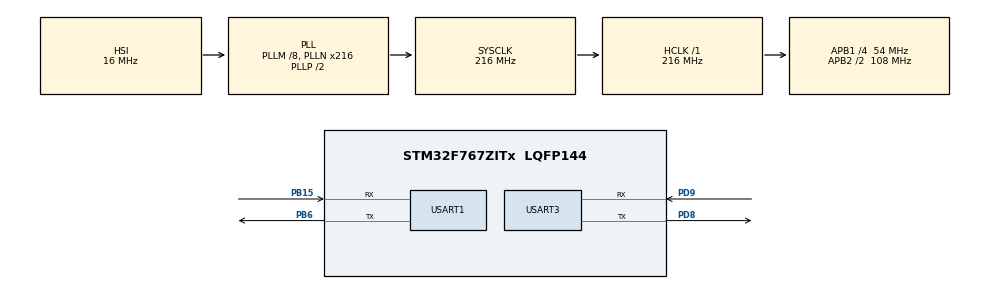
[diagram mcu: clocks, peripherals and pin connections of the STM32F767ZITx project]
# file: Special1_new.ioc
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CORTEX_M7.default_mode_Activation=1
Mcu.Family=STM32F7
Mcu.Name=STM32F767ZITx
Mcu.Package=LQFP144
NVIC.PriorityGroup=NVIC_PRIORITYGROUP_4
NVIC.USART1_IRQn=true\:0\:0\:false\:false\:true\:true\:true\:true
NVIC.USART3_IRQn=true\:0\:0\:false\:false\:true\:true\:true\:true
PB15.Mode=Asynchronous
PB15.Signal=USART1_RX
PB6.Mode=Asynchronous
PB6.Signal=USART1_TX
PD8.Mode=Asynchronous
PD8.Signal=USART3_TX
PD9.Mode=Asynchronous
PD9.Signal=USART3_RX
ProjectManager.HeapSize=0x200
ProjectManager.StackSize=0x400
ProjectManager.TargetToolchain=STM32CubeIDE
RCC.AHBFreq_Value=216000000
RCC.APB1CLKDivider=RCC_HCLK_DIV4
RCC.APB1Freq_Value=54000000
RCC.APB1TimFreq_Value=108000000
RCC.APB2CLKDivider=RCC_HCLK_DIV2
RCC.APB2Freq_Value=108000000
RCC.APB2TimFreq_Value=216000000
RCC.CortexFreq_Value=216000000
RCC.HCLKFreq_Value=216000000
RCC.HSE_VALUE=25000000
RCC.HSI_VALUE=16000000
RCC.LSE_VALUE=32768
RCC.PLLM=8
RCC.PLLN=216
RCC.SYSCLKFreq_VALUE=216000000
RCC.SYSCLKSource=RCC_SYSCLKSOURCE_PLLCLK
RCC.USBFreq_Value=216000000
RCC.VCOOutputFreq_Value=432000000
USART1.VirtualMode-Asynchronous=VM_ASYNC
USART3.VirtualMode-Asynchronous=VM_ASYNC
board=custom

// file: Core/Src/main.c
/* USER CODE BEGIN Header */
/**
  ******************************************************************************
  * @file           : main.c
  * @brief          : Main program body
  ******************************************************************************
  * @attention
  *
  * Copyright (c) 2026 STMicroelectronics.
  * All rights reserved.
  *
  * This software is licensed under terms that can be found in the LICENSE file
  * in the root directory of this software component.
  * If no LICENSE file comes with this software, it is provided AS-IS.
  *
  ******************************************************************************
  */
/* USER CODE END Header */
#include "main.h"

/* USER CODE BEGIN Includes */
#include "string.h"
/* USER CODE END Includes */

UART_HandleTypeDef huart1;
UART_HandleTypeDef huart3;

/* USER CODE BEGIN PV *//* USER CODE BEGIN PV */
// --- แยกตัวแปรรับค่า ---
uint8_t rx1; // ของ UART1
uint8_t rx3; // ของ UART3 (เดิมคือ rx)

// --- แยก Buffer ---
char rx_buffer1[50]; // Buffer เก็บข้อมูลจาก UART1 (เพื่อนส่งมา)
char rx_buffer3[50]; // Buffer เก็บข้อมูลจาก UART3 (เราพิมพ์เอง)

// --- แยก Index ---
volatile uint8_t rx_index1 = 0;
volatile uint8_t rx_index3 = 0;

// --- Flags ---
volatile uint8_t input_complete = 0;   // ธงของ UART3 (เราพิมพ์เสร็จ)
volatile uint8_t receive_complete = 0; // ธงของ UART1 (เพื่อนส่งเสร็จ)

// ตัวแปรเก็บชื่อ
char my_name[50];  // ชื่อเรา
char user_name[50]; // ชื่อเพื่อน

// ข้อความต่างๆ (เหมือนเดิม)
char start_msg[]   = "Man from U.A.R.T.1!\r\n";
char quit_msg[]    = "Quit PRESS q\r\n";
char blank[]       = "        ";
char name_msg[]    = "Name: ";
char prompt[] = " => ";

typedef enum {
	Wait_Name,
	Wait_Ready, // สถานะรอเพื่อนส่งชื่อมา
	Wait_Msg,
	Ready,
} SystemState;

SystemState currentState = Wait_Name;
/* USER CODE END PV */

/* USER CODE END PV */

void SystemClock_Config(void);
static void MPU_Config(void);
static void MX_GPIO_Init(void);
static void MX_USART1_UART_Init(void);
static void MX_USART3_UART_Init(void);

int main(void)
{

  /* MPU Configuration--------------------------------------------------------*/
  MPU_Config();

  /* MCU Configuration--------------------------------------------------------*/

  /* Reset of all peripherals, Initializes the Flash interface and the Systick. */
  HAL_Init();

  /* Configure the system clock */
  SystemClock_Config();

  /* Initialize all configured peripherals */
  MX_GPIO_Init();
  MX_USART1_UART_Init();
  MX_USART3_UART_Init();
  /* USER CODE BEGIN 2 */
  /* USER CODE BEGIN 2 */
  HAL_UART_Receive_IT(&huart1, &rx1, 1);
  HAL_UART_Receive_IT(&huart3, &rx3, 1);

  HAL_UART_Transmit(&huart3, (uint8_t*)start_msg, strlen(start_msg), HAL_MAX_DELAY);
  HAL_UART_Transmit(&huart3, (uint8_t*)quit_msg, strlen(quit_msg), HAL_MAX_DELAY);
  HAL_UART_Transmit(&huart3, (uint8_t*)blank, strlen(blank), HAL_MAX_DELAY);
  HAL_UART_Transmit(&huart3, (uint8_t*)name_msg, strlen(name_msg), HAL_MAX_DELAY);
  /* USER CODE END 2 */

  /* Infinite loop */
  while (1)
  {

    /* USER CODE BEGIN 3 */
	  switch(currentState)
	  {

	  	  case Wait_Name:
	  		if (input_complete == 1)
	  		            {
	  		                strcpy(my_name, rx_buffer3);
	  		                HAL_UART_Transmit(&huart1, (uint8_t*)my_name, strlen(my_name), 100);
							HAL_UART_Transmit(&huart1, (uint8_t*)"\n", 1, 100);
	  		             	memset(rx_buffer3, 0, sizeof(rx_buffer3));
							rx_index3 = 0;
	  		                input_complete = 0;
	  		                currentState = Wait_Ready;
	  		            }
	  		break;

	  	  case Wait_Ready:
	  		if (receive_complete == 1)
	  					{
	  						strcpy(user_name, rx_buffer1); // ก๊อปจาก buffer1 (เพื่อน)

	  						// โชว์ว่าเพื่อนชื่ออะไร
	  						HAL_UART_Transmit(&huart3, (uint8_t*)blank, strlen(blank), HAL_MAX_DELAY);
	  						HAL_UART_Transmit(&huart3, (uint8_t*)user_name, strlen(user_name), 100);
	  						HAL_UART_Transmit(&huart3, (uint8_t*)" is ready!\r\n", 12 , 100);

	  						// เคลียร์ค่า
	  						memset(rx_buffer1, 0, sizeof(rx_buffer1));
	  						rx_index1 = 0;
	  						receive_complete = 0;
	  						HAL_UART_Transmit(&huart3, (uint8_t*)blank, strlen(blank), HAL_MAX_DELAY);
	  						HAL_UART_Transmit(&huart3, (uint8_t*)my_name, strlen(my_name), 100);
	  						HAL_UART_Transmit(&huart3, (uint8_t*)prompt, strlen(prompt), 100);
	  						// ไปต่อที่โหมด Chat หรือจบ
	  						currentState = Wait_Msg;
	  					}
	  		  break;

	  	  case Wait_Msg:

	  		  if(input_complete == 1)
	  		  {
				HAL_UART_Transmit(&huart1, (uint8_t*)rx_buffer3, strlen(rx_buffer3), 100);
				HAL_UART_Transmit(&huart1, (uint8_t*)"\n", 1, 100);
				memset(rx_buffer3, 0, sizeof(rx_buffer3));
				rx_index3 = 0;
				input_complete = 0;
				currentState = Ready;
	  		  }
	  		 break;

	  	  case Ready:
	  		if (receive_complete){
				  HAL_UART_Transmit(&huart3, (uint8_t*)blank, strlen(blank), HAL_MAX_DELAY);
				  HAL_UART_Transmit(&huart3, (uint8_t*)user_name, strlen(user_name), 100);
				  HAL_UART_Transmit(&huart3, (uint8_t*)" : ", strlen(" : "), 100);
				  HAL_UART_Transmit(&huart3, (uint8_t*)rx_buffer1, strlen(rx_buffer1), HAL_MAX_DELAY);
				  HAL_UART_Transmit(&huart3, (uint8_t*)"\r\n", 2, 10);
				  memset(rx_buffer1, 0, sizeof(rx_buffer1));
				  rx_index1 = 0;
				  receive_complete = 0;
				  HAL_UART_Transmit(&huart3, (uint8_t*)blank, strlen(blank), HAL_MAX_DELAY);
				  HAL_UART_Transmit(&huart3, (uint8_t*)my_name, strlen(my_name), 100);
				  HAL_UART_Transmit(&huart3, (uint8_t*)prompt, strlen(prompt), 100);
				  currentState = Wait_Msg;
			  }
	  		 break;

	  }
//	  HAL_UART_Receive(&huart1, &rx, 1, HAL_MAX_DELAY);
//
//	  HAL_UART_Transmit(&huart1, &rx, 1, HAL_MAX_DELAY);
//	  HAL_UART_Transmit(&huart1, (uint8_t*)newline, strlen(newline), HAL_MAX_DELAY);
  }
  /* USER CODE END 3 */
}

void SystemClock_Config(void)
{
  RCC_OscInitTypeDef RCC_OscInitStruct = {0};
  RCC_ClkInitTypeDef RCC_ClkInitStruct = {0};

  /** Configure the main internal regulator output voltage
  */
  __HAL_RCC_PWR_CLK_ENABLE();
  __HAL_PWR_VOLTAGESCALING_CONFIG(PWR_REGULATOR_VOLTAGE_SCALE1);

  /** Initializes the RCC Oscillators according to the specified parameters
  * in the RCC_OscInitTypeDef structure.
  */
  RCC_OscInitStruct.OscillatorType = RCC_OSCILLATORTYPE_HSI;
  RCC_OscInitStruct.HSIState = RCC_HSI_ON;
  RCC_OscInitStruct.HSICalibrationValue = RCC_HSICALIBRATION_DEFAULT;
  RCC_OscInitStruct.PLL.PLLState = RCC_PLL_ON;
  RCC_OscInitStruct.PLL.PLLSource = RCC_PLLSOURCE_HSI;
  RCC_OscInitStruct.PLL.PLLM = 8;
  RCC_OscInitStruct.PLL.PLLN = 216;
  RCC_OscInitStruct.PLL.PLLP = RCC_PLLP_DIV2;
  RCC_OscInitStruct.PLL.PLLQ = 2;
  RCC_OscInitStruct.PLL.PLLR = 2;
  if (HAL_RCC_OscConfig(&RCC_OscInitStruct) != HAL_OK)
  {
    Error_Handler();
  }

  /** Activate the Over-Drive mode
  */
  if (HAL_PWREx_EnableOverDrive() != HAL_OK)
  {
    Error_Handler();
  }

  /** Initializes the CPU, AHB and APB buses clocks
  */
  RCC_ClkInitStruct.ClockType = RCC_CLOCKTYPE_HCLK|RCC_CLOCKTYPE_SYSCLK
                              |RCC_CLOCKTYPE_PCLK1|RCC_CLOCKTYPE_PCLK2;
  RCC_ClkInitStruct.SYSCLKSource = RCC_SYSCLKSOURCE_PLLCLK;
  RCC_ClkInitStruct.AHBCLKDivider = RCC_SYSCLK_DIV1;
  RCC_ClkInitStruct.APB1CLKDivider = RCC_HCLK_DIV4;
  RCC_ClkInitStruct.APB2CLKDivider = RCC_HCLK_DIV2;

  if (HAL_RCC_ClockConfig(&RCC_ClkInitStruct, FLASH_LATENCY_7) != HAL_OK)
  {
    Error_Handler();
  }
}

static void MX_USART1_UART_Init(void)
{

  huart1.Instance = USART1;
  huart1.Init.BaudRate = 115200;
  huart1.Init.WordLength = UART_WORDLENGTH_8B;
  huart1.Init.StopBits = UART_STOPBITS_1;
  huart1.Init.Parity = UART_PARITY_NONE;
  huart1.Init.Mode = UART_MODE_TX_RX;
  huart1.Init.HwFlowCtl = UART_HWCONTROL_NONE;
  huart1.Init.OverSampling = UART_OVERSAMPLING_16;
  huart1.Init.OneBitSampling = UART_ONE_BIT_SAMPLE_DISABLE;
  huart1.AdvancedInit.AdvFeatureInit = UART_ADVFEATURE_NO_INIT;
  if (HAL_UART_Init(&huart1) != HAL_OK)
  {
    Error_Handler();
  }

}

static void MX_USART3_UART_Init(void)
{

  huart3.Instance = USART3;
  huart3.Init.BaudRate = 115200;
  huart3.Init.WordLength = UART_WORDLENGTH_8B;
  huart3.Init.StopBits = UART_STOPBITS_1;
  huart3.Init.Parity = UART_PARITY_NONE;
  huart3.Init.Mode = UART_MODE_TX_RX;
  huart3.Init.HwFlowCtl = UART_HWCONTROL_NONE;
  huart3.Init.OverSampling = UART_OVERSAMPLING_16;
  huart3.Init.OneBitSampling = UART_ONE_BIT_SAMPLE_DISABLE;
  huart3.AdvancedInit.AdvFeatureInit = UART_ADVFEATURE_NO_INIT;
  if (HAL_UART_Init(&huart3) != HAL_OK)
  {
    Error_Handler();
  }

}

static void MX_GPIO_Init(void)
{

  /* GPIO Ports Clock Enable */
  __HAL_RCC_GPIOB_CLK_ENABLE();
  __HAL_RCC_GPIOD_CLK_ENABLE();

}

/* USER CODE BEGIN 4 */
/* USER CODE BEGIN 4 */
void HAL_UART_RxCpltCallback(UART_HandleTypeDef *huart)
{
	// --- ส่วนของ UART3 (รับจากคีย์บอร์ดเรา) ---
	if (huart->Instance == USART3)
	{
		if (rx3 == 'q' && rx_index3 == 0 )
		{
			HAL_UART_Transmit(&huart3, (uint8_t*)"\r\nQuit Program.\r\n", 15, 100);
			HAL_UART_Transmit(&huart1, (uint8_t*)"~", 1, 100);
			__disable_irq(); // ปิด Interrupt ทั้งหมดเพื่อความปลอดภัย
			while(1)
			{

			}
		}
		// จบเมื่อเจอ Enter (\r หรือ \n)
		if (rx3 == '\r' || rx3 == '\n')
		{
			if (rx_index3 > 0)
			{
				rx_buffer3[rx_index3] = '\0'; // ปิดท้าย String
				input_complete = 1;           // ยกธง
				rx_index3 = 0;                // รีเซ็ต index
				HAL_UART_Transmit(&huart3, (uint8_t*)"\r\n", 2, 10);
			}
		}
		else
		{
			if (rx_index3 < 49) rx_buffer3[rx_index3++] = rx3;

		}
		HAL_UART_Receive_IT(&huart3, &rx3, 1); // รอรับตัวต่อไป
	}

	// --- ส่วนของ UART1 (รับจากอีกบอร์ด) ---
	if (huart->Instance == USART1)
	{

		if (rx1 == '~')
		{
			 HAL_UART_Transmit(&huart3, (uint8_t*)"\r\n[System] Partner disconnected.\r\n", 34, 100);
			 __disable_irq();
			 while(1);
		}
		// สมมติว่าตกลงกันว่า "ส่งจบจะตามด้วย \n เสมอ"
		if (rx1 == '\n')
		{
			if (rx_index1 > 0)
			{
				rx_buffer1[rx_index1] = '\0'; // ปิดท้าย String
				receive_complete = 1;         // ยกธงว่าเพื่อนส่งมาแล้ว
				rx_index1 = 0;
			}
		}
		else
		{
			// เก็บข้อมูลถ้าไม่ใช่ \n (และกันขยะ \r)
			if (rx1 != '\r' && rx_index1 < 49)
			{
				rx_buffer1[rx_index1++] = rx1;
			}
		}
		HAL_UART_Receive_IT(&huart1, &rx1, 1); // รอรับตัวต่อไป
	}
}
/* USER CODE END 4 */
/* USER CODE END 4 */

 /* MPU Configuration */

void MPU_Config(void)
{
  MPU_Region_InitTypeDef MPU_InitStruct = {0};

  /* Disables the MPU */
  HAL_MPU_Disable();

  /** Initializes and configures the Region and the memory to be protected
  */
  MPU_InitStruct.Enable = MPU_REGION_ENABLE;
  MPU_InitStruct.Number = MPU_REGION_NUMBER0;
  MPU_InitStruct.BaseAddress = 0x0;
  MPU_InitStruct.Size = MPU_REGION_SIZE_4GB;
  MPU_InitStruct.SubRegionDisable = 0x87;
  MPU_InitStruct.TypeExtField = MPU_TEX_LEVEL0;
  MPU_InitStruct.AccessPermission = MPU_REGION_NO_ACCESS;
  MPU_InitStruct.DisableExec = MPU_INSTRUCTION_ACCESS_DISABLE;
  MPU_InitStruct.IsShareable = MPU_ACCESS_SHAREABLE;
  MPU_InitStruct.IsCacheable = MPU_ACCESS_NOT_CACHEABLE;
  MPU_InitStruct.IsBufferable = MPU_ACCESS_NOT_BUFFERABLE;

  HAL_MPU_ConfigRegion(&MPU_InitStruct);
  /* Enables the MPU */
  HAL_MPU_Enable(MPU_PRIVILEGED_DEFAULT);

}

void Error_Handler(void)
{
  __disable_irq();
  while (1)
  {
  }
}
